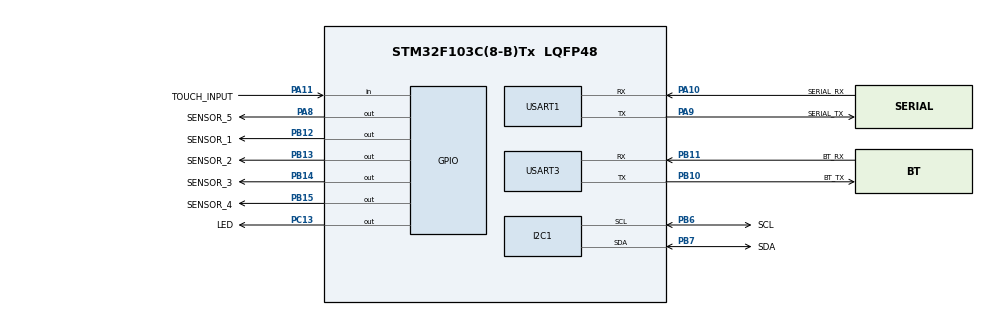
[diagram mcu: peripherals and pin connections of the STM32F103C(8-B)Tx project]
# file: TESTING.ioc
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I2C1.DutyCycle=I2C_DUTYCYCLE_16_9
I2C1.I2C_Mode=I2C_Fast
Mcu.Family=STM32F1
Mcu.Name=STM32F103C(8-B)Tx
Mcu.Package=LQFP48
NVIC.PriorityGroup=NVIC_PRIORITYGROUP_4
PA10.GPIO_Label=SERIAL_RX
PA10.Mode=Asynchronous
PA10.Signal=USART1_RX
PA11.GPIO_Label=TOUCH_INPUT
PA11.GPIO_PuPd=GPIO_PULLDOWN
PA11.Signal=GPIO_Input
PA8.GPIO_Label=SENSOR_5
PA8.Signal=GPIO_Output
PA9.GPIO_Label=SERIAL_TX
PA9.Mode=Asynchronous
PA9.Signal=USART1_TX
PB10.GPIO_Label=BT_TX
PB10.Mode=Asynchronous
PB10.Signal=USART3_TX
PB11.GPIO_Label=BT_RX
PB11.Mode=Asynchronous
PB11.Signal=USART3_RX
PB12.GPIO_Label=SENSOR_1
PB12.Signal=GPIO_Output
PB13.GPIO_Label=SENSOR_2
PB13.Signal=GPIO_Output
PB14.GPIO_Label=SENSOR_3
PB14.Signal=GPIO_Output
PB15.GPIO_Label=SENSOR_4
PB15.Signal=GPIO_Output
PB6.GPIO_Label=SCL
PB6.Mode=I2C
PB6.Signal=I2C1_SCL
PB7.GPIO_Label=SDA
PB7.Mode=I2C
PB7.Signal=I2C1_SDA
PC13-TAMPER-RTC.GPIO_Label=LED
PC13-TAMPER-RTC.Signal=GPIO_Output
ProjectManager.HeapSize=0x200
ProjectManager.StackSize=0x400
ProjectManager.TargetToolchain=MDK-ARM V5
RCC.APB1Freq_Value=8000000
RCC.APB2Freq_Value=8000000
USART1.VirtualMode=VM_ASYNC
USART3.VirtualMode=VM_ASYNC
VP_SYS_VS_ND.Mode=No_Debug
board=TESTING

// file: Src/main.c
/**
  ******************************************************************************
  * @file           : main.c
  * @brief          : Main program body
  ******************************************************************************
  ** This notice applies to any and all portions of this file
  * that are not between comment pairs USER CODE BEGIN and
  * USER CODE END. Other portions of this file, whether
  * inserted by the user or by software development tools
  * are owned by their respective copyright owners.
  *
  * COPYRIGHT(c) 2018 STMicroelectronics
  *
  * Redistribution and use in source and binary forms, with or without modification,
  * are permitted provided that the following conditions are met:
  *   1. Redistributions of source code must retain the above copyright notice,
  *      this list of conditions and the following disclaimer.
  *   2. Redistributions in binary form must reproduce the above copyright notice,
  *      this list of conditions and the following disclaimer in the documentation
  *      and/or other materials provided with the distribution.
  *   3. Neither the name of STMicroelectronics nor the names of its contributors
  *      may be used to endorse or promote products derived from this software
  *      without specific prior written permission.
  *
  * THIS SOFTWARE IS PROVIDED BY THE COPYRIGHT HOLDERS AND CONTRIBUTORS "AS IS"
  * AND ANY EXPRESS OR IMPLIED WARRANTIES, INCLUDING, BUT NOT LIMITED TO, THE
  * IMPLIED WARRANTIES OF MERCHANTABILITY AND FITNESS FOR A PARTICULAR PURPOSE ARE
  * DISCLAIMED. IN NO EVENT SHALL THE COPYRIGHT HOLDER OR CONTRIBUTORS BE LIABLE
  * FOR ANY DIRECT, INDIRECT, INCIDENTAL, SPECIAL, EXEMPLARY, OR CONSEQUENTIAL
  * DAMAGES (INCLUDING, BUT NOT LIMITED TO, PROCUREMENT OF SUBSTITUTE GOODS OR
  * SERVICES; LOSS OF USE, DATA, OR PROFITS; OR BUSINESS INTERRUPTION) HOWEVER
  * CAUSED AND ON ANY THEORY OF LIABILITY, WHETHER IN CONTRACT, STRICT LIABILITY,
  * OR TORT (INCLUDING NEGLIGENCE OR OTHERWISE) ARISING IN ANY WAY OUT OF THE USE
  * OF THIS SOFTWARE, EVEN IF ADVISED OF THE POSSIBILITY OF SUCH DAMAGE.
  *
  ******************************************************************************
  */
#include "main.h"
#include "stm32f1xx_hal.h"

/* USER CODE BEGIN Includes */
#include "stdlib.h"

/* USER CODE END Includes */

I2C_HandleTypeDef hi2c1;

UART_HandleTypeDef huart1;
UART_HandleTypeDef huart3;

/* USER CODE BEGIN PV */
/* Private variables ---------------------------------------------------------*/
static uint8_t DEBUG=0; // if DEBUG =1 It activates the USART1 for Testing
static uint8_t POWER[2]={0x6B,0}; //6B is the power management register
static uint8_t DATA_REGISTER=0x3B;
static const uint16_t MPU_ADDRESS=0xD2;
static unsigned char MPU_6050_INIT_STRING[]="\r\nInitialisng Sensors";
static unsigned char READING_START[]="\r\nREADING_STARTED ";
static unsigned char READING_END[]="READING_ENDED";
static unsigned char RECORDING_START[]="\r\nBATCH STARTED\r\n";
static unsigned char RECORDING_END[]="\r\nBATCH ENDED\r\n";
static uint8_t NO_OF_SENSORS=5;
static int PRED_BTN = 1;
/* USER CODE END PV */

void SystemClock_Config(void);
static void MX_GPIO_Init(void);
static void MX_USART1_UART_Init(void);
static void MX_USART3_UART_Init(void);
static void MX_I2C1_Init(void);

/* USER CODE BEGIN PFP */
/* Private function prototypes -----------------------------------------------*/
void MPU_6050_INIT(uint8_t);
void TRANSMIT_BT(uint8_t);
void ACTIVATE_SENSOR(uint8_t);
/* USER CODE END PFP */

int main(void)
{
  /* USER CODE BEGIN 1 */
	int SENSOR_NO;

  /* USER CODE END 1 */

  /* MCU Configuration----------------------------------------------------------*/

  /* Reset of all peripherals, Initializes the Flash interface and the Systick. */
  HAL_Init();

  /* Configure the system clock */
  SystemClock_Config();

  /* Initialize all configured peripherals */
  MX_GPIO_Init();
  MX_USART1_UART_Init();
  MX_USART3_UART_Init();
  MX_I2C1_Init();
  /* USER CODE BEGIN 2 */

	for(SENSOR_NO=1;SENSOR_NO<=NO_OF_SENSORS;SENSOR_NO++)
  {MPU_6050_INIT(SENSOR_NO);} //INITIATE THE SENSORS USING MULTIPLEXING

	MPU_6050_INIT(0); //DEACTIVATE THE MULTIPLEXER
	HAL_Delay(1000);
	HAL_GPIO_WritePin(LED_GPIO_Port,LED_Pin,GPIO_PIN_SET);

  /* USER CODE END 2 */

  /* Infinite loop */
  /* USER CODE BEGIN WHILE */
  while (1)
  {

		if (PRED_BTN == 1 && HAL_GPIO_ReadPin(TOUCH_INPUT_GPIO_Port,TOUCH_INPUT_Pin))
  {
    if(DEBUG)
		{HAL_UART_Transmit(&huart1,RECORDING_START,sizeof(RECORDING_START),100);}

		HAL_UART_Transmit(&huart3,RECORDING_START,sizeof(RECORDING_START),100);

		PRED_BTN=0;

		HAL_GPIO_WritePin(LED_GPIO_Port,LED_Pin,GPIO_PIN_RESET);

	}

		else if(HAL_GPIO_ReadPin(TOUCH_INPUT_GPIO_Port,TOUCH_INPUT_Pin))
		{

					if(DEBUG)
					{
						HAL_UART_Transmit(&huart1,READING_START,sizeof(READING_START),100);
					}

					while(HAL_UART_Transmit(&huart3,READING_START,sizeof(READING_START),100)!=HAL_OK)
					{;}

					for(SENSOR_NO=1;SENSOR_NO<=NO_OF_SENSORS;SENSOR_NO++)
					{
							TRANSMIT_BT(SENSOR_NO);

					}
					if(DEBUG)
					{
						HAL_UART_Transmit(&huart1,READING_END,sizeof(READING_END),100);
					}

					while(HAL_UART_Transmit(&huart3,READING_END,sizeof(READING_END),100)!=HAL_OK)
					{;}

		}

		//IF BATCH ENDS

		else if (PRED_BTN == 0 && !(HAL_GPIO_ReadPin(TOUCH_INPUT_GPIO_Port,TOUCH_INPUT_Pin)))
		{
			if(DEBUG)
			{HAL_UART_Transmit(&huart1,RECORDING_END,sizeof(RECORDING_END),100);}

			while(HAL_UART_Transmit(&huart3,RECORDING_END,sizeof(RECORDING_END),100)!=HAL_OK)
			{;}
			PRED_BTN=1;
			HAL_GPIO_WritePin(LED_GPIO_Port,LED_Pin,GPIO_PIN_SET);

		}

  /* USER CODE END WHILE */

  /* USER CODE BEGIN 3 */

  } //While's end
  /* USER CODE END 3 */

}

void SystemClock_Config(void)
{

  RCC_OscInitTypeDef RCC_OscInitStruct;
  RCC_ClkInitTypeDef RCC_ClkInitStruct;

    /**Initializes the CPU, AHB and APB busses clocks
    */
  RCC_OscInitStruct.OscillatorType = RCC_OSCILLATORTYPE_HSI;
  RCC_OscInitStruct.HSIState = RCC_HSI_ON;
  RCC_OscInitStruct.HSICalibrationValue = 16;
  RCC_OscInitStruct.PLL.PLLState = RCC_PLL_NONE;
  if (HAL_RCC_OscConfig(&RCC_OscInitStruct) != HAL_OK)
  {
    _Error_Handler(__FILE__, __LINE__);
  }

    /**Initializes the CPU, AHB and APB busses clocks
    */
  RCC_ClkInitStruct.ClockType = RCC_CLOCKTYPE_HCLK|RCC_CLOCKTYPE_SYSCLK
                              |RCC_CLOCKTYPE_PCLK1|RCC_CLOCKTYPE_PCLK2;
  RCC_ClkInitStruct.SYSCLKSource = RCC_SYSCLKSOURCE_HSI;
  RCC_ClkInitStruct.AHBCLKDivider = RCC_SYSCLK_DIV1;
  RCC_ClkInitStruct.APB1CLKDivider = RCC_HCLK_DIV1;
  RCC_ClkInitStruct.APB2CLKDivider = RCC_HCLK_DIV1;

  if (HAL_RCC_ClockConfig(&RCC_ClkInitStruct, FLASH_LATENCY_0) != HAL_OK)
  {
    _Error_Handler(__FILE__, __LINE__);
  }

    /**Configure the Systick interrupt time
    */
  HAL_SYSTICK_Config(HAL_RCC_GetHCLKFreq()/1000);

    /**Configure the Systick
    */
  HAL_SYSTICK_CLKSourceConfig(SYSTICK_CLKSOURCE_HCLK);

  /* SysTick_IRQn interrupt configuration */
  HAL_NVIC_SetPriority(SysTick_IRQn, 0, 0);
}

/* I2C1 init function */
static void MX_I2C1_Init(void)
{

  hi2c1.Instance = I2C1;
  hi2c1.Init.ClockSpeed = 400000;
  hi2c1.Init.DutyCycle = I2C_DUTYCYCLE_16_9;
  hi2c1.Init.OwnAddress1 = 0;
  hi2c1.Init.AddressingMode = I2C_ADDRESSINGMODE_7BIT;
  hi2c1.Init.DualAddressMode = I2C_DUALADDRESS_DISABLE;
  hi2c1.Init.OwnAddress2 = 0;
  hi2c1.Init.GeneralCallMode = I2C_GENERALCALL_DISABLE;
  hi2c1.Init.NoStretchMode = I2C_NOSTRETCH_DISABLE;
  if (HAL_I2C_Init(&hi2c1) != HAL_OK)
  {
    _Error_Handler(__FILE__, __LINE__);
  }

}

/* USART1 init function */
static void MX_USART1_UART_Init(void)
{

  huart1.Instance = USART1;
  huart1.Init.BaudRate = 115200;
  huart1.Init.WordLength = UART_WORDLENGTH_8B;
  huart1.Init.StopBits = UART_STOPBITS_1;
  huart1.Init.Parity = UART_PARITY_NONE;
  huart1.Init.Mode = UART_MODE_TX_RX;
  huart1.Init.HwFlowCtl = UART_HWCONTROL_NONE;
  huart1.Init.OverSampling = UART_OVERSAMPLING_16;
  if (HAL_UART_Init(&huart1) != HAL_OK)
  {
    _Error_Handler(__FILE__, __LINE__);
  }

}

/* USART3 init function */
static void MX_USART3_UART_Init(void)
{

  huart3.Instance = USART3;
  huart3.Init.BaudRate = 115200;
  huart3.Init.WordLength = UART_WORDLENGTH_8B;
  huart3.Init.StopBits = UART_STOPBITS_1;
  huart3.Init.Parity = UART_PARITY_NONE;
  huart3.Init.Mode = UART_MODE_TX_RX;
  huart3.Init.HwFlowCtl = UART_HWCONTROL_NONE;
  huart3.Init.OverSampling = UART_OVERSAMPLING_16;
  if (HAL_UART_Init(&huart3) != HAL_OK)
  {
    _Error_Handler(__FILE__, __LINE__);
  }

}

/** Configure pins as
        * Analog
        * Input
        * Output
        * EVENT_OUT
        * EXTI
*/
static void MX_GPIO_Init(void)
{

  GPIO_InitTypeDef GPIO_InitStruct;

  /* GPIO Ports Clock Enable */
  __HAL_RCC_GPIOC_CLK_ENABLE();
  __HAL_RCC_GPIOB_CLK_ENABLE();
  __HAL_RCC_GPIOA_CLK_ENABLE();

  /*Configure GPIO pin Output Level */
  HAL_GPIO_WritePin(LED_GPIO_Port, LED_Pin, GPIO_PIN_RESET);

  /*Configure GPIO pin Output Level */
  HAL_GPIO_WritePin(GPIOB, SENSOR_1_Pin|SENSOR_2_Pin|SENSOR_3_Pin|SENSOR_4_Pin, GPIO_PIN_RESET);

  /*Configure GPIO pin Output Level */
  HAL_GPIO_WritePin(SENSOR_5_GPIO_Port, SENSOR_5_Pin, GPIO_PIN_RESET);

  /*Configure GPIO pin : LED_Pin */
  GPIO_InitStruct.Pin = LED_Pin;
  GPIO_InitStruct.Mode = GPIO_MODE_OUTPUT_PP;
  GPIO_InitStruct.Speed = GPIO_SPEED_FREQ_LOW;
  HAL_GPIO_Init(LED_GPIO_Port, &GPIO_InitStruct);

  /*Configure GPIO pins : SENSOR_1_Pin SENSOR_2_Pin SENSOR_3_Pin SENSOR_4_Pin */
  GPIO_InitStruct.Pin = SENSOR_1_Pin|SENSOR_2_Pin|SENSOR_3_Pin|SENSOR_4_Pin;
  GPIO_InitStruct.Mode = GPIO_MODE_OUTPUT_PP;
  GPIO_InitStruct.Speed = GPIO_SPEED_FREQ_LOW;
  HAL_GPIO_Init(GPIOB, &GPIO_InitStruct);

  /*Configure GPIO pin : SENSOR_5_Pin */
  GPIO_InitStruct.Pin = SENSOR_5_Pin;
  GPIO_InitStruct.Mode = GPIO_MODE_OUTPUT_PP;
  GPIO_InitStruct.Speed = GPIO_SPEED_FREQ_LOW;
  HAL_GPIO_Init(SENSOR_5_GPIO_Port, &GPIO_InitStruct);

  /*Configure GPIO pin : TOUCH_INPUT_Pin */
  GPIO_InitStruct.Pin = TOUCH_INPUT_Pin;
  GPIO_InitStruct.Mode = GPIO_MODE_INPUT;
  GPIO_InitStruct.Pull = GPIO_PULLDOWN;
  HAL_GPIO_Init(TOUCH_INPUT_GPIO_Port, &GPIO_InitStruct);

}

/* USER CODE BEGIN 4 */
static void MPU_6050_INIT(uint8_t Sensor_Number)
{
	ACTIVATE_SENSOR(Sensor_Number);

	while(HAL_I2C_IsDeviceReady(&hi2c1,MPU_ADDRESS,5,1000)!=HAL_OK)
	{
		HAL_UART_Transmit(&huart1,MPU_6050_INIT_STRING,sizeof(MPU_6050_INIT_STRING),100);
		HAL_UART_Transmit(&huart3,MPU_6050_INIT_STRING,sizeof(MPU_6050_INIT_STRING),100);

	}
	while(HAL_I2C_IsDeviceReady(&hi2c1,MPU_ADDRESS,10,100)!=HAL_OK)
	{;}
	while(HAL_I2C_Master_Transmit(&hi2c1,MPU_ADDRESS,POWER,sizeof(POWER),100)!=HAL_OK)
	{;}

}

static void TRANSMIT_BT(uint8_t Sensor_Number)
{
			/* Activate the required Sensor
				 Read the data using I2C
				 Transmit the data using BT( if DEBUG=1) then Also Transmit over the Serial For Testing
			*/

			ACTIVATE_SENSOR(Sensor_Number);

			unsigned char data[14]; //DATA Buffer for storing the I2C Data
			uint16_t AccX,AccY,AccZ,GyrX,GyrY,GyrZ;
			//uint16_t Temperature;
			uint16_t len_STRING_BUFFER;
			char STRING_BUFFER[80];

			//Request the data
			while(HAL_I2C_Master_Transmit(&hi2c1,MPU_ADDRESS,&DATA_REGISTER,1,100)!=HAL_OK)
			{;}

				while(HAL_I2C_Master_Receive(&hi2c1,MPU_ADDRESS,data,sizeof(data),100)!=HAL_OK)
			{;}
			//Got the data now convert it to the useful form for using

				AccX=data[0]<<8|data[1];
				AccY=data[2]<<8|data[3];
				AccZ=data[4]<<8|data[5];
				//Temperature=data[6]<<8|data[7];
				GyrX=data[8]<<8|data[9];
				GyrY=data[10]<<8|data[11];
				GyrZ=data[12]<<8|data[13];

			//Now print them in a buffer and transmit
			len_STRING_BUFFER=sprintf(STRING_BUFFER,"Sensor %d: %d,%d,%d,%d,%d,%d END ",Sensor_Number,AccX,AccY,AccZ,GyrX,GyrY,GyrZ);
				if(DEBUG)
				{HAL_UART_Transmit(&huart1,(unsigned char *)STRING_BUFFER,len_STRING_BUFFER,100);}
			HAL_UART_Transmit(&huart3,(unsigned char *)STRING_BUFFER,len_STRING_BUFFER,100);

}

static void ACTIVATE_SENSOR(uint8_t Sensor_Number)
{

	switch(Sensor_Number)
	{case 1:
			HAL_GPIO_WritePin(SENSOR_1_GPIO_Port,SENSOR_1_Pin,GPIO_PIN_RESET);
			HAL_GPIO_WritePin(GPIOB,SENSOR_1_Pin,GPIO_PIN_SET);
			HAL_GPIO_WritePin(GPIOB,SENSOR_3_Pin,GPIO_PIN_SET);
			HAL_GPIO_WritePin(GPIOB,SENSOR_4_Pin,GPIO_PIN_SET);
			HAL_GPIO_WritePin(GPIOB,SENSOR_5_Pin,GPIO_PIN_SET);
			//HAL_Delay(50);
			break;
		case 2:
			HAL_GPIO_WritePin(SENSOR_1_GPIO_Port,SENSOR_1_Pin,GPIO_PIN_SET);
			HAL_GPIO_WritePin(GPIOB,SENSOR_2_Pin,GPIO_PIN_RESET);
			HAL_GPIO_WritePin(GPIOB,SENSOR_3_Pin,GPIO_PIN_SET);
			HAL_GPIO_WritePin(GPIOB,SENSOR_4_Pin,GPIO_PIN_SET);
			HAL_GPIO_WritePin(GPIOB,SENSOR_5_Pin,GPIO_PIN_SET);
			//HAL_Delay(50);
			break;
		case 3:
			HAL_GPIO_WritePin(SENSOR_1_GPIO_Port,SENSOR_1_Pin,GPIO_PIN_SET);
			HAL_GPIO_WritePin(GPIOB,SENSOR_2_Pin,GPIO_PIN_SET);
			HAL_GPIO_WritePin(GPIOB,SENSOR_3_Pin,GPIO_PIN_RESET);
			HAL_GPIO_WritePin(GPIOB,SENSOR_4_Pin,GPIO_PIN_SET);
			HAL_GPIO_WritePin(GPIOB,SENSOR_5_Pin,GPIO_PIN_SET);
			//HAL_Delay(50);
			break;
		case 4:
			HAL_GPIO_WritePin(SENSOR_1_GPIO_Port,SENSOR_1_Pin,GPIO_PIN_SET);
			HAL_GPIO_WritePin(GPIOB,SENSOR_2_Pin,GPIO_PIN_SET);
			HAL_GPIO_WritePin(GPIOB,SENSOR_3_Pin,GPIO_PIN_SET);
			HAL_GPIO_WritePin(GPIOB,SENSOR_4_Pin,GPIO_PIN_RESET);
			HAL_GPIO_WritePin(GPIOB,SENSOR_5_Pin,GPIO_PIN_SET);
			//HAL_Delay(50);
			break;
		case 5:
			HAL_GPIO_WritePin(SENSOR_1_GPIO_Port,SENSOR_1_Pin,GPIO_PIN_SET);
			HAL_GPIO_WritePin(GPIOB,SENSOR_2_Pin,GPIO_PIN_SET);
			HAL_GPIO_WritePin(GPIOB,SENSOR_3_Pin,GPIO_PIN_SET);
			HAL_GPIO_WritePin(GPIOB,SENSOR_4_Pin,GPIO_PIN_SET);
			HAL_GPIO_WritePin(GPIOB,SENSOR_5_Pin,GPIO_PIN_RESET);
			//HAL_Delay(50);
			break;
	 	default:  //DEFAULT DEACTIVATES THE SENSOR MULTIPLEXERS
			HAL_GPIO_WritePin(SENSOR_1_GPIO_Port,SENSOR_1_Pin,GPIO_PIN_SET);
			HAL_GPIO_WritePin(GPIOB,SENSOR_2_Pin,GPIO_PIN_SET);
			HAL_GPIO_WritePin(GPIOB,SENSOR_3_Pin,GPIO_PIN_SET);
			HAL_GPIO_WritePin(GPIOB,SENSOR_4_Pin,GPIO_PIN_SET);
			HAL_GPIO_WritePin(GPIOB,SENSOR_5_Pin,GPIO_PIN_SET);
			//HAL_Delay(50);
			break;

	}

}
/* USER CODE END 4 */

void _Error_Handler(char *file, int line)
{
  while(1)
  {
  }
}

/************************ (C) COPYRIGHT STMicroelectronics *****END OF FILE****/
